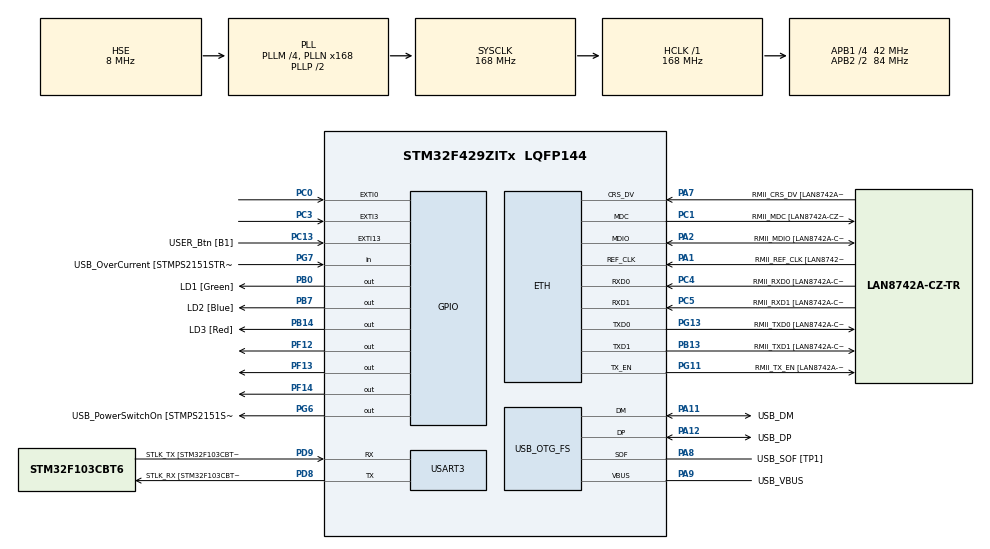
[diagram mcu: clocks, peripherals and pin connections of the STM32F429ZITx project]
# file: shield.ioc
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ETH.MediaInterface=HAL_ETH_RMII_MODE
ETH.PHY_Name=LAN8742A_PHY_ADDRESS
ETH.PHY_Value=0
ETH.PhyAddress=0
Mcu.Family=STM32F4
Mcu.Name=STM32F429ZITx
Mcu.Package=LQFP144
NVIC.EXTI0_IRQn=true\:0\:0\:false\:true\:true\:1\:true\:true\:true
NVIC.EXTI15_10_IRQn=true\:0\:0\:false\:true\:true\:3\:true\:true\:true
NVIC.EXTI3_IRQn=true\:0\:0\:false\:true\:true\:2\:true\:true\:true
NVIC.PriorityGroup=NVIC_PRIORITYGROUP_4
NVIC.USART3_IRQn=true\:0\:0\:false\:true\:true\:4\:true\:true\:true
PA1.GPIO_Label=RMII_REF_CLK [LAN8742A-CZ-TR_REFCLK0]
PA1.Mode=RMII
PA1.Signal=ETH_REF_CLK
PA10.GPIO_Label=USB_ID
PA10.Signal=USB_OTG_FS_ID
PA11.GPIO_Label=USB_DM
PA11.Mode=Device_Only
PA11.Signal=USB_OTG_FS_DM
PA12.GPIO_Label=USB_DP
PA12.Mode=Device_Only
PA12.Signal=USB_OTG_FS_DP
PA13.GPIO_Label=TMS
PA13.Mode=Serial_Wire
PA13.Signal=SYS_JTMS-SWDIO
PA14.GPIO_Label=TCK
PA14.Mode=Serial_Wire
PA14.Signal=SYS_JTCK-SWCLK
PA2.GPIO_Label=RMII_MDIO [LAN8742A-CZ-TR_MDIO]
PA2.Mode=RMII
PA2.Signal=ETH_MDIO
PA7.GPIO_Label=RMII_CRS_DV [LAN8742A-CZ-TR_CRS_DV]
PA7.Mode=RMII
PA7.Signal=ETH_CRS_DV
PA8.GPIO_Label=USB_SOF [TP1]
PA8.Mode=Activate_SOF_FS
PA8.Signal=USB_OTG_FS_SOF
PA9.GPIO_Label=USB_VBUS
PA9.Mode=Activate_VBUS
PA9.Signal=USB_OTG_FS_VBUS
PB0.GPIO_Label=LD1 [Green]
PB0.Signal=GPIO_Output
PB13.GPIO_Label=RMII_TXD1 [LAN8742A-CZ-TR_TXD1]
PB13.Mode=RMII
PB13.Signal=ETH_TXD1
PB14.GPIO_Label=LD3 [Red]
PB14.Signal=GPIO_Output
PB7.GPIO_Label=LD2 [Blue]
PB7.Signal=GPIO_Output
PC0.GPIO_PuPd=GPIO_PULLUP
PC0.Signal=GPXTI0
PC1.GPIO_Label=RMII_MDC [LAN8742A-CZ-TR_MDC]
PC1.Mode=RMII
PC1.Signal=ETH_MDC
PC13.GPIO_Label=USER_Btn [B1]
PC13.Signal=GPXTI13
PC14/OSC32_IN.Mode=LSE-External-Oscillator
PC14/OSC32_IN.Signal=RCC_OSC32_IN
PC15/OSC32_OUT.Mode=LSE-External-Oscillator
PC15/OSC32_OUT.Signal=RCC_OSC32_OUT
PC3.GPIO_PuPd=GPIO_PULLUP
PC3.Signal=GPXTI3
PC4.GPIO_Label=RMII_RXD0 [LAN8742A-CZ-TR_RXD0]
PC4.Mode=RMII
PC4.Signal=ETH_RXD0
PC5.GPIO_Label=RMII_RXD1 [LAN8742A-CZ-TR_RXD1]
PC5.Mode=RMII
PC5.Signal=ETH_RXD1
PD8.GPIO_Label=STLK_RX [STM32F103CBT6_PA3]
PD8.Mode=Asynchronous
PD8.Signal=USART3_TX
PD9.GPIO_Label=STLK_TX [STM32F103CBT6_PA2]
PD9.Mode=Asynchronous
PD9.Signal=USART3_RX
PF12.Signal=GPIO_Output
PF13.Signal=GPIO_Output
PF14.Signal=GPIO_Output
PG11.GPIO_Label=RMII_TX_EN [LAN8742A-CZ-TR_TXEN]
PG11.Mode=RMII
PG11.Signal=ETH_TX_EN
PG13.GPIO_Label=RMII_TXD0 [LAN8742A-CZ-TR_TXD0]
PG13.Mode=RMII
PG13.Signal=ETH_TXD0
PG6.GPIO_Label=USB_PowerSwitchOn [STMPS2151STR_EN]
PG6.Signal=GPIO_Output
PG7.GPIO_Label=USB_OverCurrent [STMPS2151STR_FAULT]
PG7.Signal=GPIO_Input
PH0/OSC_IN.GPIO_Label=MCO [STM32F103CBT6_PA8]
PH0/OSC_IN.Mode=HSE-External-Clock-Source
PH0/OSC_IN.Signal=RCC_OSC_IN
PH1/OSC_OUT.Mode=HSE-External-Clock-Source
PH1/OSC_OUT.Signal=RCC_OSC_OUT
ProjectManager.HeapSize=0x200
ProjectManager.StackSize=0x400
ProjectManager.TargetToolchain=STM32CubeIDE
RCC.48MHZClocksFreq_Value=48000000
RCC.AHBFreq_Value=168000000
RCC.APB1CLKDivider=RCC_HCLK_DIV4
RCC.APB1Freq_Value=42000000
RCC.APB1TimFreq_Value=84000000
RCC.APB2CLKDivider=RCC_HCLK_DIV2
RCC.APB2Freq_Value=84000000
RCC.APB2TimCLKDivider=2
RCC.APB2TimFreq_Value=168000000
RCC.CortexFreq_Value=168000000
RCC.HCLKFreq_Value=168000000
RCC.HSE_VALUE=8000000
RCC.HSI_VALUE=16000000
RCC.PLLM=4
RCC.PLLMUL=RCC_PLL_MUL9
RCC.PLLN=168
RCC.PLLQ=7
RCC.PRESCALERUSB=RCC_USBCLKSOURCE_PLL_DIV1_5
RCC.SYSCLKFreq_VALUE=168000000
RCC.SYSCLKSource=RCC_SYSCLKSOURCE_PLLCLK
RCC.SYSCLKSourceVirtual=RCC_SYSCLKSOURCE_PLLCLK
RCC.USBFreq_Value=48000000
RCC.VCOOutputFreq_Value=336000000
USART3.VirtualMode=VM_ASYNC
USB_OTG_FS.VirtualMode=Device_Only
board=NUCLEO-F429ZI

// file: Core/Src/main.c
/* USER CODE BEGIN Header */
/**
 ******************************************************************************
 * @file           : main.c
 * @brief          : Main program body
 ******************************************************************************
 * @attention
 *
 * Copyright (c) 2023 STMicroelectronics.
 * All rights reserved.
 *
 * This software is licensed under terms that can be found in the LICENSE file
 * in the root directory of this software component.
 * If no LICENSE file comes with this software, it is provided AS-IS.
 *
 ******************************************************************************
 */
/* USER CODE END Header */
#include "main.h"
#include "string.h"

/* USER CODE BEGIN Includes */
#include "stdio.h"
#include "string.h"
/* USER CODE END Includes */

ETH_TxPacketConfig TxConfig;
ETH_DMADescTypeDef  DMARxDscrTab[ETH_RX_DESC_CNT]; /* Ethernet Rx DMA Descriptors */
ETH_DMADescTypeDef  DMATxDscrTab[ETH_TX_DESC_CNT]; /* Ethernet Tx DMA Descriptors */

ETH_HandleTypeDef heth;

UART_HandleTypeDef huart3;

PCD_HandleTypeDef hpcd_USB_OTG_FS;

void SystemClock_Config(void);
static void MX_GPIO_Init(void);
static void MX_ETH_Init(void);
static void MX_USART3_UART_Init(void);
static void MX_USB_OTG_FS_PCD_Init(void);
static void MX_NVIC_Init(void);
/* USER CODE BEGIN PFP */
void DisplayFND(uint8_t fnd, uint8_t location);
uint8_t ttl7447(uint8_t num);
void counter0to9999(uint8_t num[4], uint32_t tick);
void count_time(uint8_t num[4], uint32_t tick);

int _write(int file, char *ptr, int len) {
	HAL_UART_Transmit(&huart3, (uint8_t *)ptr, len, 500);
	return len;
}

int __io_putchar(int ch) {
	HAL_UART_Transmit(&huart3, (uint8_t *)&ch, 1, 1000);
	return ch;
}
/* USER CODE END PFP */

/* USER CODE BEGIN 0 */

int cnt = 0;
uint32_t current_tick_1;
uint32_t current_tick_2;
uint32_t old_tick_1;
uint32_t old_tick_2;

void HAL_GPIO_EXTI_Callback(uint16_t GPIO_Pin) {
	if (GPIO_Pin == GPIO_PIN_0) {
		current_tick_1 = HAL_GetTick();
	}
	if (GPIO_Pin == GPIO_PIN_3) {
		current_tick_2 = HAL_GetTick();
	}

	if (GPIO_Pin == GPIO_PIN_0 && (current_tick_1 - old_tick_1 > 300)) {
		HAL_GPIO_WritePin(GPIOB, LD1_Pin, 1);
		cnt++;
		printf("USART print test count=%d\r\n", cnt);
		old_tick_1 = current_tick_1;
	}
	if (GPIO_Pin == GPIO_PIN_3 && (current_tick_2 - old_tick_2 > 300)) {
		HAL_GPIO_WritePin(GPIOB, LD2_Pin, 1);
		cnt--;
		printf("USART print test count=%d\r\n", cnt);
		old_tick_2 = current_tick_2;
	}
}

/* USER CODE END 0 */

int main(void)
{

  /* MCU Configuration--------------------------------------------------------*/

  /* Reset of all peripherals, Initializes the Flash interface and the Systick. */
  HAL_Init();

  /* Configure the system clock */
  SystemClock_Config();

  /* Initialize all configured peripherals */
  MX_GPIO_Init();
  MX_ETH_Init();
  MX_USART3_UART_Init();
  MX_USB_OTG_FS_PCD_Init();

  /* Initialize interrupts */
  MX_NVIC_Init();
  /* USER CODE BEGIN 2 */

	uint8_t ttl7447(uint8_t num) {
		// for anode type
		switch (num) {
		case 0:
			return 0xc0;
		case 1:
			return 0xf9;
		case 2:
			return 0xa4;
		case 3:
			return 0xb0;
		case 4:
			return 0x99;
		case 5:
			return 0x92;
		case 6:
			return 0x82;
		case 7:
			return 0xd8;
		case 8:
			return 0x80;
		case 9:
			return 0x90;
		default:
			return 0xff;
		}
	}
	void DisplayFND(uint8_t fnd, uint8_t location) {

		HAL_GPIO_WritePin(GPIOF, GPIO_PIN_14, 0);	// latch clock pin off

		uint16_t data = 0;
		data = fnd << 8;
		data |= 1 << (location - 1);

		// for example, to display 1 to first FND
		// MSB 1111 1001 dddd 0001 LSB	(d means don't care)

		for (int i = 0; i < 16; i++) {

			if (data >> (15 - i) & 1) {	// MSB first in
				HAL_GPIO_WritePin(GPIOF, GPIO_PIN_12, 1);	// Data line
			} else {
				HAL_GPIO_WritePin(GPIOF, GPIO_PIN_12, 0);	// Data line
			}

			HAL_GPIO_WritePin(GPIOF, GPIO_PIN_13, 1);	// shift clock pin on
			HAL_GPIO_WritePin(GPIOF, GPIO_PIN_13, 0);	// shift clock pin off
		}

		HAL_GPIO_WritePin(GPIOF, GPIO_PIN_14, 1);	// latch clock pin on
	}

  /* USER CODE END 2 */

  /* Infinite loop */
  /* USER CODE BEGIN WHILE */
	while (1) {
		if (cnt > 9999)
			cnt = 0;
		if (cnt < 0)
			cnt = 9999;

		//	  counter0to9999(count, tick);

		DisplayFND(ttl7447(cnt/1000), 1);	// thousands
		DisplayFND(ttl7447(cnt/100%10), 2);	// hundreds
		DisplayFND(ttl7447(cnt/10%10), 3);	// tens
		DisplayFND(ttl7447(cnt%10), 4);	// ones

    /* USER CODE END WHILE */

	}
}

void SystemClock_Config(void)
{
  RCC_OscInitTypeDef RCC_OscInitStruct = {0};
  RCC_ClkInitTypeDef RCC_ClkInitStruct = {0};

  /** Configure the main internal regulator output voltage
  */
  __HAL_RCC_PWR_CLK_ENABLE();
  __HAL_PWR_VOLTAGESCALING_CONFIG(PWR_REGULATOR_VOLTAGE_SCALE1);

  /** Initializes the RCC Oscillators according to the specified parameters
  * in the RCC_OscInitTypeDef structure.
  */
  RCC_OscInitStruct.OscillatorType = RCC_OSCILLATORTYPE_HSE;
  RCC_OscInitStruct.HSEState = RCC_HSE_BYPASS;
  RCC_OscInitStruct.PLL.PLLState = RCC_PLL_ON;
  RCC_OscInitStruct.PLL.PLLSource = RCC_PLLSOURCE_HSE;
  RCC_OscInitStruct.PLL.PLLM = 4;
  RCC_OscInitStruct.PLL.PLLN = 168;
  RCC_OscInitStruct.PLL.PLLP = RCC_PLLP_DIV2;
  RCC_OscInitStruct.PLL.PLLQ = 7;
  if (HAL_RCC_OscConfig(&RCC_OscInitStruct) != HAL_OK)
  {
    Error_Handler();
  }

  /** Initializes the CPU, AHB and APB buses clocks
  */
  RCC_ClkInitStruct.ClockType = RCC_CLOCKTYPE_HCLK|RCC_CLOCKTYPE_SYSCLK
                              |RCC_CLOCKTYPE_PCLK1|RCC_CLOCKTYPE_PCLK2;
  RCC_ClkInitStruct.SYSCLKSource = RCC_SYSCLKSOURCE_PLLCLK;
  RCC_ClkInitStruct.AHBCLKDivider = RCC_SYSCLK_DIV1;
  RCC_ClkInitStruct.APB1CLKDivider = RCC_HCLK_DIV4;
  RCC_ClkInitStruct.APB2CLKDivider = RCC_HCLK_DIV2;

  if (HAL_RCC_ClockConfig(&RCC_ClkInitStruct, FLASH_LATENCY_5) != HAL_OK)
  {
    Error_Handler();
  }
}

/**
  * @brief NVIC Configuration.
  * @retval None
  */
static void MX_NVIC_Init(void)
{
  /* EXTI0_IRQn interrupt configuration */
  HAL_NVIC_SetPriority(EXTI0_IRQn, 0, 0);
  HAL_NVIC_EnableIRQ(EXTI0_IRQn);
  /* EXTI3_IRQn interrupt configuration */
  HAL_NVIC_SetPriority(EXTI3_IRQn, 0, 0);
  HAL_NVIC_EnableIRQ(EXTI3_IRQn);
  /* EXTI15_10_IRQn interrupt configuration */
  HAL_NVIC_SetPriority(EXTI15_10_IRQn, 0, 0);
  HAL_NVIC_EnableIRQ(EXTI15_10_IRQn);
  /* USART3_IRQn interrupt configuration */
  HAL_NVIC_SetPriority(USART3_IRQn, 0, 0);
  HAL_NVIC_EnableIRQ(USART3_IRQn);
}

static void MX_ETH_Init(void)
{

   static uint8_t MACAddr[6];

  heth.Instance = ETH;
  MACAddr[0] = 0x00;
  MACAddr[1] = 0x80;
  MACAddr[2] = 0xE1;
  MACAddr[3] = 0x00;
  MACAddr[4] = 0x00;
  MACAddr[5] = 0x00;
  heth.Init.MACAddr = &MACAddr[0];
  heth.Init.MediaInterface = HAL_ETH_RMII_MODE;
  heth.Init.TxDesc = DMATxDscrTab;
  heth.Init.RxDesc = DMARxDscrTab;
  heth.Init.RxBuffLen = 1524;

  if (HAL_ETH_Init(&heth) != HAL_OK)
  {
    Error_Handler();
  }

  memset(&TxConfig, 0 , sizeof(ETH_TxPacketConfig));
  TxConfig.Attributes = ETH_TX_PACKETS_FEATURES_CSUM | ETH_TX_PACKETS_FEATURES_CRCPAD;
  TxConfig.ChecksumCtrl = ETH_CHECKSUM_IPHDR_PAYLOAD_INSERT_PHDR_CALC;
  TxConfig.CRCPadCtrl = ETH_CRC_PAD_INSERT;

}

static void MX_USART3_UART_Init(void)
{

  huart3.Instance = USART3;
  huart3.Init.BaudRate = 115200;
  huart3.Init.WordLength = UART_WORDLENGTH_8B;
  huart3.Init.StopBits = UART_STOPBITS_1;
  huart3.Init.Parity = UART_PARITY_NONE;
  huart3.Init.Mode = UART_MODE_TX_RX;
  huart3.Init.HwFlowCtl = UART_HWCONTROL_NONE;
  huart3.Init.OverSampling = UART_OVERSAMPLING_16;
  if (HAL_UART_Init(&huart3) != HAL_OK)
  {
    Error_Handler();
  }

}

static void MX_USB_OTG_FS_PCD_Init(void)
{

  hpcd_USB_OTG_FS.Instance = USB_OTG_FS;
  hpcd_USB_OTG_FS.Init.dev_endpoints = 4;
  hpcd_USB_OTG_FS.Init.speed = PCD_SPEED_FULL;
  hpcd_USB_OTG_FS.Init.dma_enable = DISABLE;
  hpcd_USB_OTG_FS.Init.phy_itface = PCD_PHY_EMBEDDED;
  hpcd_USB_OTG_FS.Init.Sof_enable = ENABLE;
  hpcd_USB_OTG_FS.Init.low_power_enable = DISABLE;
  hpcd_USB_OTG_FS.Init.lpm_enable = DISABLE;
  hpcd_USB_OTG_FS.Init.vbus_sensing_enable = ENABLE;
  hpcd_USB_OTG_FS.Init.use_dedicated_ep1 = DISABLE;
  if (HAL_PCD_Init(&hpcd_USB_OTG_FS) != HAL_OK)
  {
    Error_Handler();
  }

}

static void MX_GPIO_Init(void)
{
  GPIO_InitTypeDef GPIO_InitStruct = {0};

  /* GPIO Ports Clock Enable */
  __HAL_RCC_GPIOC_CLK_ENABLE();
  __HAL_RCC_GPIOH_CLK_ENABLE();
  __HAL_RCC_GPIOA_CLK_ENABLE();
  __HAL_RCC_GPIOB_CLK_ENABLE();
  __HAL_RCC_GPIOF_CLK_ENABLE();
  __HAL_RCC_GPIOD_CLK_ENABLE();
  __HAL_RCC_GPIOG_CLK_ENABLE();

  /*Configure GPIO pin Output Level */
  HAL_GPIO_WritePin(GPIOB, LD1_Pin|LD3_Pin|LD2_Pin, GPIO_PIN_RESET);

  /*Configure GPIO pin Output Level */
  HAL_GPIO_WritePin(GPIOF, GPIO_PIN_12|GPIO_PIN_13|GPIO_PIN_14, GPIO_PIN_RESET);

  /*Configure GPIO pin Output Level */
  HAL_GPIO_WritePin(USB_PowerSwitchOn_GPIO_Port, USB_PowerSwitchOn_Pin, GPIO_PIN_RESET);

  /*Configure GPIO pin : USER_Btn_Pin */
  GPIO_InitStruct.Pin = USER_Btn_Pin;
  GPIO_InitStruct.Mode = GPIO_MODE_IT_RISING;
  GPIO_InitStruct.Pull = GPIO_NOPULL;
  HAL_GPIO_Init(USER_Btn_GPIO_Port, &GPIO_InitStruct);

  /*Configure GPIO pins : PC0 PC3 */
  GPIO_InitStruct.Pin = GPIO_PIN_0|GPIO_PIN_3;
  GPIO_InitStruct.Mode = GPIO_MODE_IT_RISING;
  GPIO_InitStruct.Pull = GPIO_PULLUP;
  HAL_GPIO_Init(GPIOC, &GPIO_InitStruct);

  /*Configure GPIO pins : LD1_Pin LD3_Pin LD2_Pin */
  GPIO_InitStruct.Pin = LD1_Pin|LD3_Pin|LD2_Pin;
  GPIO_InitStruct.Mode = GPIO_MODE_OUTPUT_PP;
  GPIO_InitStruct.Pull = GPIO_NOPULL;
  GPIO_InitStruct.Speed = GPIO_SPEED_FREQ_LOW;
  HAL_GPIO_Init(GPIOB, &GPIO_InitStruct);

  /*Configure GPIO pins : PF12 PF13 PF14 */
  GPIO_InitStruct.Pin = GPIO_PIN_12|GPIO_PIN_13|GPIO_PIN_14;
  GPIO_InitStruct.Mode = GPIO_MODE_OUTPUT_PP;
  GPIO_InitStruct.Pull = GPIO_NOPULL;
  GPIO_InitStruct.Speed = GPIO_SPEED_FREQ_LOW;
  HAL_GPIO_Init(GPIOF, &GPIO_InitStruct);

  /*Configure GPIO pin : USB_PowerSwitchOn_Pin */
  GPIO_InitStruct.Pin = USB_PowerSwitchOn_Pin;
  GPIO_InitStruct.Mode = GPIO_MODE_OUTPUT_PP;
  GPIO_InitStruct.Pull = GPIO_NOPULL;
  GPIO_InitStruct.Speed = GPIO_SPEED_FREQ_LOW;
  HAL_GPIO_Init(USB_PowerSwitchOn_GPIO_Port, &GPIO_InitStruct);

  /*Configure GPIO pin : USB_OverCurrent_Pin */
  GPIO_InitStruct.Pin = USB_OverCurrent_Pin;
  GPIO_InitStruct.Mode = GPIO_MODE_INPUT;
  GPIO_InitStruct.Pull = GPIO_NOPULL;
  HAL_GPIO_Init(USB_OverCurrent_GPIO_Port, &GPIO_InitStruct);

}

void Error_Handler(void)
{
	__disable_irq();
	while (1) {
	}
}
